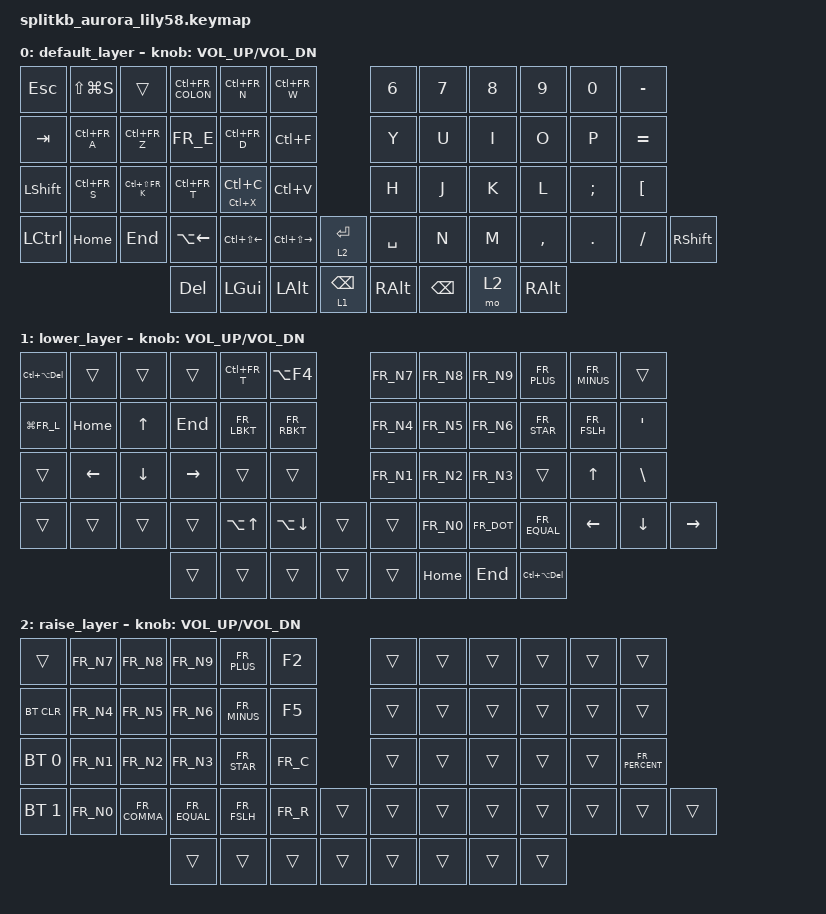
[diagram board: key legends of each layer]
/*
 * Copyright (c) 2022 The ZMK Contributors
 *
 * SPDX-License-Identifier: MIT
 */

#include <behaviors.dtsi>
#include <dt-bindings/zmk/keys.h>
#include <dt-bindings/zmk/bt.h>
#include <dt-bindings/zmk/ext_power.h>
#include "keys_fr.h"




/ {
    behaviors {
        ctrl_c_v_x: tap_dance_mod_tap {
            compatible = "zmk,behavior-tap-dance";
            #binding-cells = <0>;
            tapping-term-ms = <200>;
            bindings = <&mt LC(X) LC(C)>, <&kp LC(V)>;
        };
    };
    
    combos {
        compatible = "zmk,combos";
        combo_del {
            timeout-ms = <50>;
            key-positions = <36 42>;
            bindings = <&kp SPACE>;
        };
    combo_bcsp {
            timeout-ms = <50>;
            key-positions = <36 53>;
            bindings = <&kp DEL>;
        };
    };

    keymap {
        compatible = "zmk,keymap";

        default_layer {
// ------------------------------------------------------------------------------------------------------------
// |  ESC  |   IMPR   |             |   CTRL+:  | CTRL+N  | CTRL+W |                           |  6   |  7    |  8    |  9   |   0   |   )   |
// |  TAB  |  CTRL+A  |  CTRL+Z     |     E     |    (    |    )   |                           |  Y   |  U    |  I    |  O   |   P   |   =   |
// | SHIFT |  CTRL+S  |  MTRL+MAJ+K |  CTRL+T   |  HOME   |  END   |                           |  H   |  J    |  K    |  L   |   ;   |   '   |
// |  CTRL |  CTRL+D  |  CTRL+B     |  CTRL+N   | ALT+down| ALT+up |   DEL    |  BSPC |  N   |  M    |  ,    |  .   |   /   | SHIFT |
//                                  |   GUI     |   ALT   | BSPC   |  RETURN  |      | BSPACE | RETURN | DEL  | RALT  |
            bindings = <
&kp ESC   &kp LS(LG(S)) &trans            &kp LC(FR_COLON) &kp LC(FR_N)     &kp LC(FR_W)                         &kp N6 &kp N7   &kp N8    &kp N9  &kp N0   &kp MINUS
&kp TAB   &kp LC(FR_A)  &kp LC(FR_Z)      &kp FR_E         &kp LC(FR_D)     &kp LC(F)                          &kp Y  &kp U    &kp I     &kp O   &kp P    &kp EQUAL
&kp LSHFT &kp LC(FR_S)  &kp LC(LS(FR_K))  &kp LC(FR_T)     &mt LC(X) LC(C)  &kp LC(V)                           &kp H  &kp J    &kp K     &kp L   &kp SEMI &kp LBKT
&kp LCTRL &kp HOME      &kp END           &kp LA(LEFT)     &kp LC(LS(LEFT)) &kp LC(LS(RIGHT))  &lt 2 RET       &kp SPACE &kp N  &kp M    &kp COMMA &kp DOT &kp FSLH &kp RSHFT
                                          &kp DEL          &kp LGUI         &kp LALT           &lt 1 BSPC        &kp RALT  &kp BSPC &mo 2 &kp RALT

            >;

            sensor-bindings = <&inc_dec_kp C_VOL_UP C_VOL_DN>;
        };

        lower_layer {
// ------------------------------------------------------------------------------------------------------------
// | CALTSUP | ATLF4 |      |       |  CTRL+T  |  ALTF4   |                   |      |       |      |      |       |       |
// | WIN+L   |  HOME |  UP  | END   |    [     |  ]       |                   |  7   |  8    |  9   |  0   |  F11  |  F12  |
// |         |  LEFT | DOWN | RIGHT |          |          |                   |  4   |  5    |  6   |  (   |   )   |   ~   |
// |         |       |      |       |  ALT UP  | ALT DOWN |       |     |  1   |  2    |  3   |  {   |   }   |  "|"  |
//                   |      |       |     |    |          |       |     |      |       |
            bindings = <
&kp LC(LA(DEL)) &trans       &trans        &trans      &kp LC(FR_T)     &kp LA(F4)                            &kp FR_N7   &kp FR_N8   &kp FR_N9     &kp FR_PLUS    &kp FR_MINUS   &trans
&kp LG(FR_L)    &kp HOME     &kp UP        &kp END     &kp FR_LBKT      &kp FR_RBKT                            &kp FR_N4   &kp FR_N5   &kp FR_N6     &kp FR_STAR    &kp FR_FSLH    &kp SQT
&trans          &kp LEFT     &kp DOWN      &kp RIGHT   &trans           &trans                            &kp FR_N1   &kp FR_N2   &kp FR_N3     &trans         &kp UP         &kp BSLH
&trans          &trans       &trans        &trans      &kp LA(UP)       &kp LA(DOWN) &trans          &trans  &kp FR_N0   &kp FR_DOT  &kp FR_EQUAL  &kp LEFT       &kp DOWN       &kp RIGHT
                                           &trans      &trans           &trans            &trans          &trans  &kp HOME    &kp END     &kp LC(LA(DEL))
            >; 

            sensor-bindings = <&inc_dec_kp C_VOL_UP C_VOL_DN>;
        };

        raise_layer {
// ------------------------------------------------------------------------------------------------------------
// |       |  7  |  8  |  9  |  +   |  F2  |                   |      |       |       |      |       |       |
// | BTCLR |  5  |  6  |  7  |  -   |  F5  |                   |  6   |   7   |   8   |  9   |   0   |       |
// |  BT1  |  1  |  2  |  3  |   *  |  C   |                   |      |   <-  |   v   |  ^   |  ->   |       |
// |  BT2  |  0  |  ,  |  =  |   /  |  R   |        |  |       |  +   |   -   |   =   |  [   |   ]   |   \   |
//                     |     |      |      |        |  |       |      |       |       |
            bindings = <
&trans         &kp FR_N7  &kp FR_N8    &kp FR_N9     &kp FR_PLUS   &kp F2                               &trans      &trans    &trans    &trans   &trans    &trans
&bt BT_CLR     &kp FR_N4  &kp FR_N5    &kp FR_N6     &kp FR_MINUS  &kp F5                               &trans      &trans    &trans    &trans   &trans    &trans
&bt BT_SEL 0   &kp FR_N1  &kp FR_N2    &kp FR_N3     &kp FR_STAR   &kp FR_C                               &trans      &trans    &trans    &trans   &trans    &kp FR_PERCENT
&bt BT_SEL 1   &kp FR_N0  &kp FR_COMMA &kp FR_EQUAL  &kp FR_FSLH   &kp FR_R   &trans           &trans    &trans      &trans    &trans    &trans   &trans    &trans
                                       &trans        &trans        &trans     &trans           &trans    &trans      &trans    &trans
            >;

            sensor-bindings = <&inc_dec_kp C_VOL_UP C_VOL_DN>;
        };
    };
};
